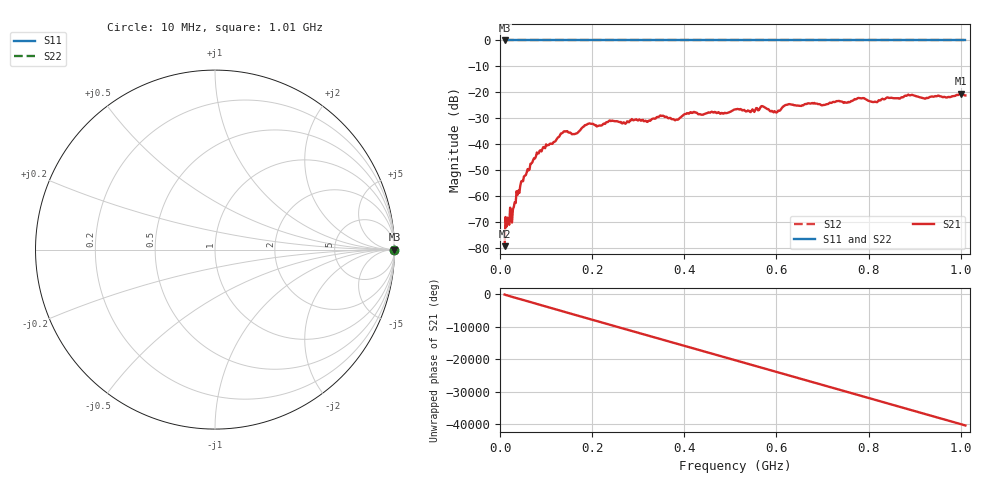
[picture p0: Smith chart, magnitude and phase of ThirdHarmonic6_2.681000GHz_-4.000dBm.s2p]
! 8/17/2025 6:17:57 AM
! C:\ANRITSUVNA\TEMP\TEMP.S2P
! CHANNEL.1
! TR.MEASUREMENT
! RAW.DATA
! RF.CORRECTION.OFF
! AVERAGING.OFF
! IF.BANDWIDTH: 5KHZ
! SWEEPTYPE:  FREQ.SWEEP(Linear)
! Reference Plane Port Info
! PORT:  PORT1  PORT2
! DISTANCE:  0  m  0  m
! TIME:  0  s  0  s
! PHASE.OFFSET:  0  deg.  0  deg.
! LOSS:  0  dB  0  dB
! REF.LOSS:  0  dB  0  dB
! REF.FREQ:  0  Hz  0  Hz
! Power Info
! POWER:  -20  dBm  -20  dBm
! EFF.POWER:  -20  dBm  -20  dBm
! SOURCE.ATTEN:  0  dB  0  dB
! TEST.ATTEN:  0  dB  0  dB
# GHZ S RI R 50.0
! FREQ.GHZ  S11RE  S11IM  S21RE  S21IM  S12RE  S12IM  S22RE  S22IM
!; PortSelection: Port_12
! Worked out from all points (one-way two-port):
!   501 points, 10 MHz to 1.01 GHz, reference 50 ohm
!   highest |S21| = -20.49 dB at 1 GHz (marker M1); lowest = -79.2 dB at 10 MHz (marker M2)
!   lowest |S11| = 0.0 dB at 10 MHz (marker M3)
!   |S11| at or under -10 dB: nowhere
!   |S22| runs from 0.0 to 0.0 dB; largest |S21 - S12| = 1.1
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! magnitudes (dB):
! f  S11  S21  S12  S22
! 10 MHz  0.0  -79.2  0.0  0.0
! 16 MHz  0.0  -68.2  0.0  0.0
! 30 MHz  0.0  -64.1  0.0  0.0
! 48 MHz  0.0  -54.1  0.0  0.0
! 78 MHz  0.0  -44.6  0.0  0.0
! 136 MHz  0.0  -35.6  0.0  0.0
! 164 MHz  0.0  -35.9  0.0  0.0
! 178 MHz  0.0  -33.7  0.0  0.0
! 194 MHz  0.0  -31.9  0.0  0.0
! 322 MHz  0.0  -31.0  0.0  0.0
! 344 MHz  0.0  -29.5  0.0  0.0
! 382 MHz  0.0  -30.5  0.0  0.0
! 416 MHz  0.0  -27.9  0.0  0.0
! 510 MHz  0.0  -26.6  0.0  0.0
! 548 MHz  0.0  -26.5  0.0  0.0
! 570 MHz  0.0  -25.3  0.0  0.0
! 598 MHz  0.0  -27.6  0.0  0.0
! 624 MHz  0.0  -24.7  0.0  0.0
! 678 MHz  0.0  -24.1  0.0  0.0
! 844 MHz  0.0  -22.1  0.0  0.0
! 1 GHz  0.0  -20.5  0.0  0.0
! 1.01 GHz  0.0  -21.2  0.0  0.0
